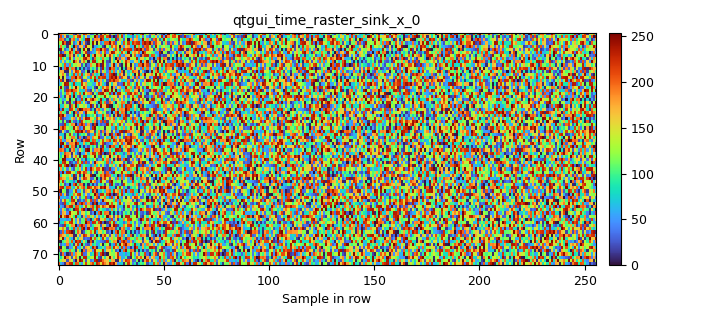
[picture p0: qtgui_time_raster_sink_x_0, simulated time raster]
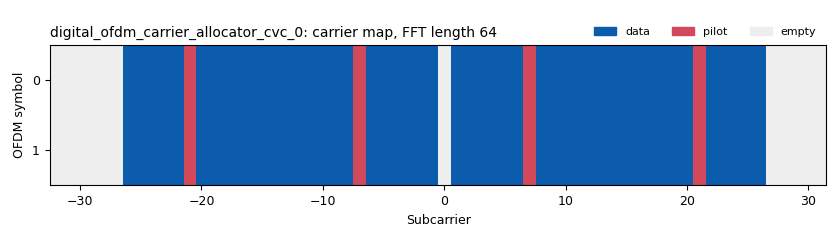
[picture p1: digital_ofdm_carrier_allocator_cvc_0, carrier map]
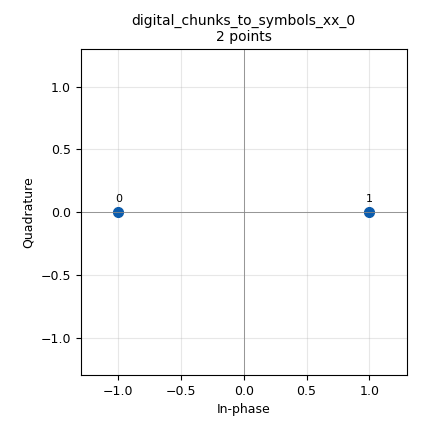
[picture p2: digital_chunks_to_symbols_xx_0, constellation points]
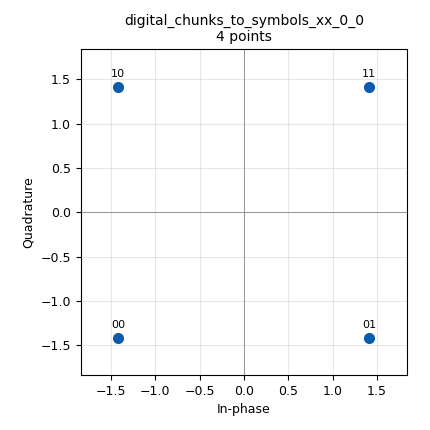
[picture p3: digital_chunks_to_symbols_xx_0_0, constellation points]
options:
  parameters:
    description: testing
    generate_options: qt_gui
    id: rx_tx
    output_language: python
    title: rx_tx example
  states: {}

blocks:
- name: fft_len
  id: variable
  parameters:
    value: '64'
  states: {}
- name: header_equalizer
  id: variable
  parameters:
    value: digital.ofdm_equalizer_simpledfe(fft_len, header_mod.base(), occupied_carriers, pilot_carriers, pilot_symbols)
  states: {}
- name: header_formatter
  id: variable
  parameters:
    value: digital.packet_header_ofdm(occupied_carriers, n_syms=1, len_tag_key=packet_length_tag_key, frame_len_tag_key=length_tag_key, bits_per_header_sym=header_mod.bits_per_symbol(), bits_per_payload_sym=payload_mod.bits_per_symbol(), scramble_header=False)
  states: {}
- name: header_mod
  id: variable
  parameters:
    value: digital.constellation_bpsk()
  states: {}
- name: length_tag_key
  id: variable
  parameters:
    value: '"frame_len"'
  states: {}
- name: occupied_carriers
  id: variable
  parameters:
    value: (list(range(-26, -21)) + list(range(-20, -7)) + list(range(-6, 0)) + list(range(1, 7)) + list(range(8, 21)) + list(range(22, 27)),)
  states: {}
- name: packet_len
  id: variable
  parameters:
    value: '96'
  states: {}
- name: packet_length_tag_key
  id: variable
  parameters:
    value: '"packet_len"'
  states: {}
- name: payload_equalizer
  id: variable
  parameters:
    value: digital.ofdm_equalizer_simpledfe(fft_len, payload_mod.base(), occupied_carriers, pilot_carriers, pilot_symbols, 1)
  states: {}
- name: payload_mod
  id: variable
  parameters:
    value: digital.constellation_qpsk()
  states: {}
- name: pilot_carriers
  id: variable
  parameters:
    value: ((-21, -7, 7, 21,),)
  states: {}
- name: pilot_symbols
  id: variable
  parameters:
    value: ((1, 1, 1, -1,),)
  states: {}
- name: rolloff
  id: variable
  parameters:
    value: '0'
  states: {}
- name: samp_rate
  id: variable
  parameters:
    value: '192000'
  states: {}
- name: sync_word1
  id: variable
  parameters:
    value: '[0., 0., 0., 0., 0., 0., 0., 1.41421356, 0., -1.41421356, 0., 1.41421356, 0., -1.41421356, 0., -1.41421356, 0., -1.41421356, 0., 1.41421356, 0., -1.41421356, 0., 1.41421356, 0., -1.41421356, 0., -1.41421356, 0., -1.41421356, 0., -1.41421356, 0., 1.41421356, 0., -1.41421356, 0., 1.41421356, 0., 1.41421356, 0., 1.41421356, 0., -1.41421356, 0., 1.41421356, 0., 1.41421356, 0., 1.41421356, 0., -1.41421356, 0., 1.41421356, 0., 1.41421356, 0., 1.41421356, 0., 0., 0., 0., 0., 0.]'
  states: {}
- name: sync_word2
  id: variable
  parameters:
    value: '[0j, 0j, 0j, 0j, 0j, 0j, (-1+0j), (-1+0j), (-1+0j), (-1+0j), (1+0j), (1+0j), (-1+0j), (-1+0j), (-1+0j), (1+0j), (-1+0j), (1+0j), (1+0j), (1 +0j), (1+0j), (1+0j), (-1+0j), (-1+0j), (-1+0j), (-1+0j), (-1+0j), (1+0j), (-1+0j), (-1+0j), (1+0j), (-1+0j), 0j, (1+0j), (-1+0j), (1+0j), (1+0j), (1+0j), (-1+0j), (1+0j), (1+0j), (1+0j), (-1+0j), (1+0j), (1+0j), (1+0j), (1+0j), (-1+0j), (1+0j), (-1+0j), (-1+0j), (-1+0j), (1+0j), (-1+0j), (1+0j), (-1+0j), (-1+0j), (-1+0j), (-1+0j), 0j, 0j, 0j, 0j, 0j]'
  states: {}
- name: analog_frequency_modulator_fc_0
  id: analog_frequency_modulator_fc
  parameters:
    sensitivity: '-2.0/fft_len'
  states: {}
- name: analog_random_source_x_0
  id: analog_random_source_x
  parameters:
    max: '255'
    min: '0'
    num_samps: '1000'
    repeat: 'True'
    type: byte
  states: {}
- name: blocks_delay_0
  id: blocks_delay
  parameters:
    delay: fft_len+fft_len//4
    type: complex
  states: {}
- name: blocks_multiply_const_vxx_0
  id: blocks_multiply_const_vxx
  parameters:
    const: '0.05'
    type: complex
  states: {}
- name: blocks_multiply_xx_0
  id: blocks_multiply_xx
  parameters:
    type: complex
  states: {}
- name: blocks_repack_bits_bb_0
  id: blocks_repack_bits_bb
  parameters:
    endianness: gr.GR_LSB_FIRST
    k: '8'
    l: payload_mod.bits_per_symbol()
    len_tag_key: length_tag_key
  states: {}
- name: blocks_repack_bits_bb_0_0
  id: blocks_repack_bits_bb
  parameters:
    align_output: 'True'
    endianness: gr.GR_LSB_FIRST
    k: payload_mod.bits_per_symbol()
    l: '8'
    len_tag_key: packet_length_tag_key
  states: {}
- name: blocks_stream_to_tagged_stream_0
  id: blocks_stream_to_tagged_stream
  parameters:
    len_tag_key: length_tag_key
    packet_len: packet_len
    type: byte
  states: {}
- name: blocks_tag_debug_1_0_1_0
  id: blocks_tag_debug
  parameters:
    name: rx Bytes
    type: byte
  states: {}
- name: blocks_tag_gate_0
  id: blocks_tag_gate
  parameters:
    propagate_tags: 'False'
    type: complex
  states: {}
- name: blocks_tagged_stream_mux_0
  id: blocks_tagged_stream_mux
  parameters:
    lengthtagname: length_tag_key
    ninputs: '2'
    type: complex
  states: {}
- name: blocks_throttle2_0
  id: blocks_throttle2
  parameters:
    samples_per_second: samp_rate
    type: complex
  states: {}
- name: blocks_throttle2_0_0
  id: blocks_throttle2
  parameters:
    samples_per_second: samp_rate
    type: complex
  states: {}
- name: blocks_uchar_to_float_0
  id: blocks_uchar_to_float
  parameters: {}
  states: {}
- name: channels_channel_model_0
  id: channels_channel_model
  parameters:
    block_tags: 'True'
    epsilon: '1.0'
    freq_offset: 0 * 1.0/fft_len
    noise_voltage: '0.1'
    seed: '0'
    taps: '1.0'
  states: {}
- name: customModule_getCFO_0
  id: customModule_getCFO
  parameters:
    freq_offsets_filename: '"freq_offsets_testing.txt"'
    sensitivity: '-2.0/fft_len'
  states: {state: disabled}
- name: digital_chunks_to_symbols_xx_0
  id: digital_chunks_to_symbols_xx
  parameters:
    dimension: '1'
    in_type: byte
    out_type: complex
    symbol_table: header_mod.points()
  states: {}
- name: digital_chunks_to_symbols_xx_0_0
  id: digital_chunks_to_symbols_xx
  parameters:
    dimension: '1'
    in_type: byte
    out_type: complex
    symbol_table: payload_mod.points()
  states: {}
- name: digital_constellation_decoder_cb_0
  id: digital_constellation_decoder_cb
  parameters:
    constellation: header_mod.base()
  states: {}
- name: digital_constellation_decoder_cb_1
  id: digital_constellation_decoder_cb
  parameters:
    constellation: payload_mod.base()
  states: {}
- name: digital_crc32_bb_0
  id: digital_crc32_bb
  parameters:
    check: 'False'
    lengthtagname: length_tag_key
    packed: 'True'
  states: {}
- name: digital_crc32_bb_0_0
  id: digital_crc32_bb
  parameters:
    check: 'True'
    lengthtagname: packet_length_tag_key
    packed: 'True'
  states: {}
- name: digital_header_payload_demux_0
  id: digital_header_payload_demux
  parameters:
    guard_interval: fft_len//4
    header_len: '3'
    header_padding: '0'
    items_per_symbol: fft_len
    length_tag_key: length_tag_key
    output_symbols: 'True'
    samp_rate: samp_rate
    special_tags: ()
    timing_tag_key: '"rx_time"'
    type: complex
  states: {}
- name: digital_ofdm_carrier_allocator_cvc_0
  id: digital_ofdm_carrier_allocator_cvc
  parameters:
    fft_len: fft_len
    len_tag_key: length_tag_key
    occupied_carriers: occupied_carriers
    output_is_shifted: 'True'
    pilot_carriers: pilot_carriers
    pilot_symbols: pilot_symbols
    sync_words: (sync_word1, sync_word2)
  states: {}
- name: digital_ofdm_chanest_vcvc_0
  id: digital_ofdm_chanest_vcvc
  parameters:
    force_one_symbol: 'False'
    max_carr_offset: '3'
    n_data_symbols: '1'
    sync_symbol1: sync_word1
    sync_symbol2: sync_word2
  states: {}
- name: digital_ofdm_cyclic_prefixer_0
  id: digital_ofdm_cyclic_prefixer
  parameters:
    cp_len: fft_len//4
    input_size: fft_len
    rolloff: rolloff
    tagname: length_tag_key
  states: {}
- name: digital_ofdm_frame_equalizer_vcvc_0
  id: digital_ofdm_frame_equalizer_vcvc
  parameters:
    cp_len: fft_len//4
    equalizer: header_equalizer.base()
    fft_len: fft_len
    fixed_frame_len: '1'
    len_tag_key: length_tag_key
    propagate_channel_state: 'True'
  states: {}
- name: digital_ofdm_frame_equalizer_vcvc_1
  id: digital_ofdm_frame_equalizer_vcvc
  parameters:
    cp_len: fft_len//4
    equalizer: payload_equalizer.base()
    fft_len: fft_len
    len_tag_key: length_tag_key
    propagate_channel_state: 'True'
  states: {}
- name: digital_ofdm_serializer_vcc_header
  id: digital_ofdm_serializer_vcc
  parameters:
    carr_offset_key: ''
    fft_len: fft_len
    len_tag_key: length_tag_key
    occupied_carriers: occupied_carriers
    packet_len_tag_key: ''
  states: {}
- name: digital_ofdm_serializer_vcc_payload
  id: digital_ofdm_serializer_vcc
  parameters:
    carr_offset_key: ''
    fft_len: fft_len
    len_tag_key: length_tag_key
    occupied_carriers: occupied_carriers
    packet_len_tag_key: packet_length_tag_key
    symbols_skipped: '1'
  states: {}
- name: digital_ofdm_sync_sc_cfb_0
  id: digital_ofdm_sync_sc_cfb
  parameters:
    cp_len: fft_len//4
    fft_len: fft_len
    threshold: '0.9'
  states: {}
- name: digital_packet_headergenerator_bb_0
  id: digital_packet_headergenerator_bb
  parameters:
    header_formatter: header_formatter.base()
    len_tag_key: length_tag_key
  states: {}
- name: digital_packet_headerparser_b_0
  id: digital_packet_headerparser_b
  parameters:
    header_formatter: header_formatter.base()
  states: {}
- name: fft_vxx_0
  id: fft_vxx
  parameters:
    fft_size: fft_len
    forward: 'False'
    shift: 'True'
    type: complex
    window: ()
  states: {}
- name: fft_vxx_0_0
  id: fft_vxx
  parameters:
    fft_size: fft_len
    forward: 'True'
    shift: 'True'
    type: complex
    window: ()
  states: {}
- name: fft_vxx_1
  id: fft_vxx
  parameters:
    fft_size: fft_len
    forward: 'True'
    shift: 'True'
    type: complex
    window: ()
  states: {}
- name: header_bits
  id: virtual_sink
  parameters:
    stream_id: Header Bits
  states: {}
- name: import_1
  id: import
  parameters:
    imports: from gnuradio.digital.utils import tagged_streams
  states: {}
- name: qtgui_freq_sink_x_0_1
  id: qtgui_freq_sink_x
  parameters:
    autoscale: 'True'
    bw: samp_rate
    fc: '0'
    fftsize: '1024'
    name: FFT Plot
    showports: 'True'
    type: complex
  states: {state: disabled}
- name: qtgui_time_raster_sink_x_0
  id: qtgui_time_raster_sink_x
  parameters:
    ncols: '256'
    nrows: '256'
    samp_rate: samp_rate
    type: float
  states: {}
- name: uhd_usrp_source_1
  id: uhd_usrp_source
  parameters:
    ant0: '"TX/RX"'
    center_freq0: 5.15e9
    dev_addr: '"addr=192.168.10.5"'
    gain0: '0'
    samp_rate: samp_rate
    sync: sync
    type: fc32
  states: {state: disabled}
- name: virtual_sink_0
  id: virtual_sink
  parameters:
    stream_id: Time Domain
  states: {}
- name: virtual_sink_0_0
  id: virtual_sink
  parameters:
    stream_id: Payload Bits
  states: {}
- name: virtual_sink_0_0_0
  id: virtual_sink
  parameters:
    stream_id: Pre-OFDM
  states: {}
- name: virtual_sink_0_1
  id: virtual_sink
  parameters:
    stream_id: Header Stream
  states: {}
- name: virtual_sink_1
  id: virtual_sink
  parameters:
    stream_id: Tx Signal
  states: {}
- name: virtual_sink_1_0
  id: virtual_sink
  parameters:
    stream_id: Payload IQ
  states: {}
- name: virtual_sink_1_1
  id: virtual_sink
  parameters:
    stream_id: Payload Stream
  states: {}
- name: virtual_sink_2
  id: virtual_sink
  parameters:
    stream_id: mess_2
  states: {state: disabled}
- name: virtual_source_0
  id: virtual_source
  parameters:
    stream_id: Header Bits
  states: {}
- name: virtual_source_0_0
  id: virtual_source
  parameters:
    stream_id: Payload Bits
  states: {}
- name: virtual_source_0_0_0
  id: virtual_source
  parameters:
    stream_id: Pre-OFDM
  states: {}
- name: virtual_source_0_0_0_0
  id: virtual_source
  parameters:
    stream_id: Time Domain
  states: {}
- name: virtual_source_0_0_1
  id: virtual_source
  parameters:
    stream_id: Payload IQ
  states: {}
- name: virtual_source_0_1
  id: virtual_source
  parameters:
    stream_id: Header Stream
  states: {}
- name: virtual_source_1
  id: virtual_source
  parameters:
    stream_id: Tx Signal
  states: {}
- name: virtual_source_1_0
  id: virtual_source
  parameters:
    stream_id: Payload Stream
  states: {}

connections:
- [analog_frequency_modulator_fc_0, '0', blocks_multiply_xx_0, '0']
- [analog_random_source_x_0, '0', blocks_stream_to_tagged_stream_0, '0']
- [blocks_delay_0, '0', blocks_multiply_xx_0, '1']
- [blocks_multiply_const_vxx_0, '0', blocks_tag_gate_0, '0']
- [blocks_multiply_xx_0, '0', digital_header_payload_demux_0, '0']
- [blocks_repack_bits_bb_0, '0', virtual_sink_0_0, '0']
- [blocks_repack_bits_bb_0_0, '0', blocks_uchar_to_float_0, '0']
- [blocks_repack_bits_bb_0_0, '0', digital_crc32_bb_0_0, '0']
- [blocks_stream_to_tagged_stream_0, '0', digital_crc32_bb_0, '0']
- [blocks_tag_gate_0, '0', blocks_throttle2_0, '0']
- [blocks_tagged_stream_mux_0, '0', virtual_sink_0_0_0, '0']
- [blocks_throttle2_0, '0', virtual_sink_1, '0']
- [blocks_throttle2_0_0, '0', blocks_delay_0, '0']
- [blocks_throttle2_0_0, '0', digital_ofdm_sync_sc_cfb_0, '0']
- [blocks_uchar_to_float_0, '0', qtgui_time_raster_sink_x_0, '0']
- [channels_channel_model_0, '0', blocks_throttle2_0_0, '0']
- [channels_channel_model_0, '0', qtgui_freq_sink_x_0_1, '0']
- [customModule_getCFO_0, out, virtual_sink_2, '0']
- [digital_chunks_to_symbols_xx_0, '0', blocks_tagged_stream_mux_0, '0']
- [digital_chunks_to_symbols_xx_0_0, '0', blocks_tagged_stream_mux_0, '1']
- [digital_constellation_decoder_cb_0, '0', digital_packet_headerparser_b_0, '0']
- [digital_constellation_decoder_cb_1, '0', blocks_repack_bits_bb_0_0, '0']
- [digital_crc32_bb_0, '0', blocks_repack_bits_bb_0, '0']
- [digital_crc32_bb_0, '0', digital_packet_headergenerator_bb_0, '0']
- [digital_crc32_bb_0_0, '0', blocks_tag_debug_1_0_1_0, '0']
- [digital_header_payload_demux_0, '0', virtual_sink_0_1, '0']
- [digital_header_payload_demux_0, '1', virtual_sink_1_1, '0']
- [digital_ofdm_carrier_allocator_cvc_0, '0', fft_vxx_0, '0']
- [digital_ofdm_chanest_vcvc_0, '0', digital_ofdm_frame_equalizer_vcvc_0, '0']
- [digital_ofdm_cyclic_prefixer_0, '0', virtual_sink_0, '0']
- [digital_ofdm_frame_equalizer_vcvc_0, '0', digital_ofdm_serializer_vcc_header, '0']
- [digital_ofdm_frame_equalizer_vcvc_1, '0', digital_ofdm_serializer_vcc_payload, '0']
- [digital_ofdm_serializer_vcc_header, '0', digital_constellation_decoder_cb_0, '0']
- [digital_ofdm_serializer_vcc_payload, '0', virtual_sink_1_0, '0']
- [digital_ofdm_sync_sc_cfb_0, '0', analog_frequency_modulator_fc_0, '0']
- [digital_ofdm_sync_sc_cfb_0, '0', customModule_getCFO_0, '0']
- [digital_ofdm_sync_sc_cfb_0, '1', digital_header_payload_demux_0, '1']
- [digital_packet_headergenerator_bb_0, '0', header_bits, '0']
- [digital_packet_headerparser_b_0, header_data, digital_header_payload_demux_0, header_data]
- [fft_vxx_0, '0', digital_ofdm_cyclic_prefixer_0, '0']
- [fft_vxx_0_0, '0', digital_ofdm_chanest_vcvc_0, '0']
- [fft_vxx_1, '0', digital_ofdm_frame_equalizer_vcvc_1, '0']
- [uhd_usrp_source_1, '0', blocks_delay_0, '0']
- [uhd_usrp_source_1, '0', digital_ofdm_sync_sc_cfb_0, '0']
- [virtual_source_0, '0', digital_chunks_to_symbols_xx_0, '0']
- [virtual_source_0_0, '0', digital_chunks_to_symbols_xx_0_0, '0']
- [virtual_source_0_0_0, '0', digital_ofdm_carrier_allocator_cvc_0, '0']
- [virtual_source_0_0_0_0, '0', blocks_multiply_const_vxx_0, '0']
- [virtual_source_0_0_1, '0', digital_constellation_decoder_cb_1, '0']
- [virtual_source_0_1, '0', fft_vxx_0_0, '0']
- [virtual_source_1, '0', channels_channel_model_0, '0']
- [virtual_source_1_0, '0', fft_vxx_1, '0']

metadata:
  file_format: 1
  grc_version: v3.11.0.0git-843-g6b25c171
